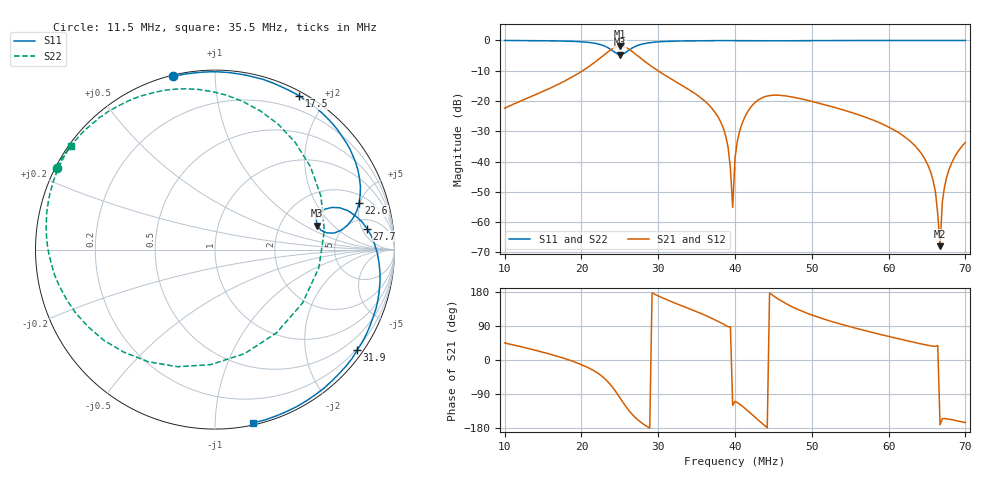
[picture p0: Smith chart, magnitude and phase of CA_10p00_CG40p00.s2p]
#  HZ  S  RI  R  50.00
! Rohde & Schwarz ZVT8 8Ports - Version 4.11 - 1300.0000k08 SN: 100242
! Date: 2026-07-31 14:12:54
! Measurements: S11 S21 S12 S22
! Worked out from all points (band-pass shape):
!   201 points, 10 MHz to 70 MHz, reference 50 ohm
!   highest |S21| = -1.87 dB at 25 MHz (marker M1); lowest = -67.9 dB at 66.7 MHz (marker M2)
!   |S21| within 3 dB of the highest: 22.91 MHz to 27.23 MHz (4.319 MHz wide, 17.2 % of centre)
!   lowest |S11| = -4.7 dB at 25 MHz (marker M3), VSWR 3.80, Z = 161 + j65.6 ohm
!   |S11| at or under -10 dB: nowhere
!   |S22| runs from -4.9 to 0.0 dB; largest |S21 - S12| = 0.003
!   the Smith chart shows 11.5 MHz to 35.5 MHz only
!   S11 on the Smith chart (normalised r, x): 11.5 MHz: 0.00, +0.79; 17.5 MHz: 0.05, +1.69; 22.6 MHz: 2.71, +4.89; 27.7 MHz: 7.25, +6.31; 31.9 MHz: 0.16, -3.13; 35.5 MHz: 0.01, -1.24
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1e7  -0.4059 0.9102  0.0538 0.054  0.0537 0.0541  -0.9154 0.3945
1.15e7  -0.2359 0.9657  0.0729 0.0568  0.0729 0.0569  -0.8829 0.4574
1.75e7  0.4686 0.8566  0.2029 0.0218  0.2035 0.0213  -0.6437 0.7362
2.02e7  0.7266 0.6028  0.3088 -0.0756  0.3086 -0.0755  -0.3752 0.8659
2.26e7  0.803 0.2596  0.396 -0.3518  0.3981 -0.3533  0.1553 0.8254
2.5e7  0.568 0.1342  -0.1264 -0.7959  -0.1291 -0.7964  0.4876 -0.2977
2.77e7  0.8471 0.117  -0.49 -0.1443  -0.4929 -0.1445  -0.7764 -0.3528
3.01e7  0.909 -0.2724  -0.3013 0.064  -0.3013 0.063  -0.9405 0.1225
3.19e7  0.7917 -0.5615  -0.1972 0.1029  -0.1972 0.1028  -0.9143 0.3319
3.55e7  0.2114 -0.9659  -0.0628 0.0949  -0.0628 0.0951  -0.8048 0.5791
3.88e7  -0.6845 -0.7171  -0.000356 0.0262  -0.0006 0.0262  -0.6901 0.7218
3.97e7  -0.8973 -0.4218  -0.000864 -0.00152  -0.000916 -0.00157  -0.6562 0.7512
4e7  -0.9439 -0.296  -0.0038 -0.0108  -0.00376 -0.0108  -0.6465 0.7615
4.15e7  -0.8755 0.4527  -0.0406 -0.0465  -0.0406 -0.0464  -0.5897 0.8025
4.36e7  0.1365 0.973  -0.1117 -0.0229  -0.1119 -0.0226  -0.5151 0.848
4.63e7  0.9705 0.166  -0.1089 0.0563  -0.109 0.0564  -0.4241 0.8953
5.02e7  0.6059 -0.7841  -0.0447 0.0861  -0.0449 0.0861  -0.2883 0.95
6.01e7  -0.7875 -0.609  0.0172 0.0323  0.0172 0.0322  0.0781 0.9936
6.52e7  -0.9966 -0.0119  0.0065 0.0052  0.0065 0.00518  0.2715 0.9608
6.67e7  -0.9819 0.1701  -0.000397 -6.17e-05  -0.000418 -7.5e-05  0.3279 0.9422
6.76e7  -0.9578 0.2759  -0.00525 -0.00239  -0.00524 -0.00242  0.3627 0.9293
7e7  -0.8391 0.5379  -0.0201 -0.0053  -0.0201 -0.00527  0.4504 0.8899
